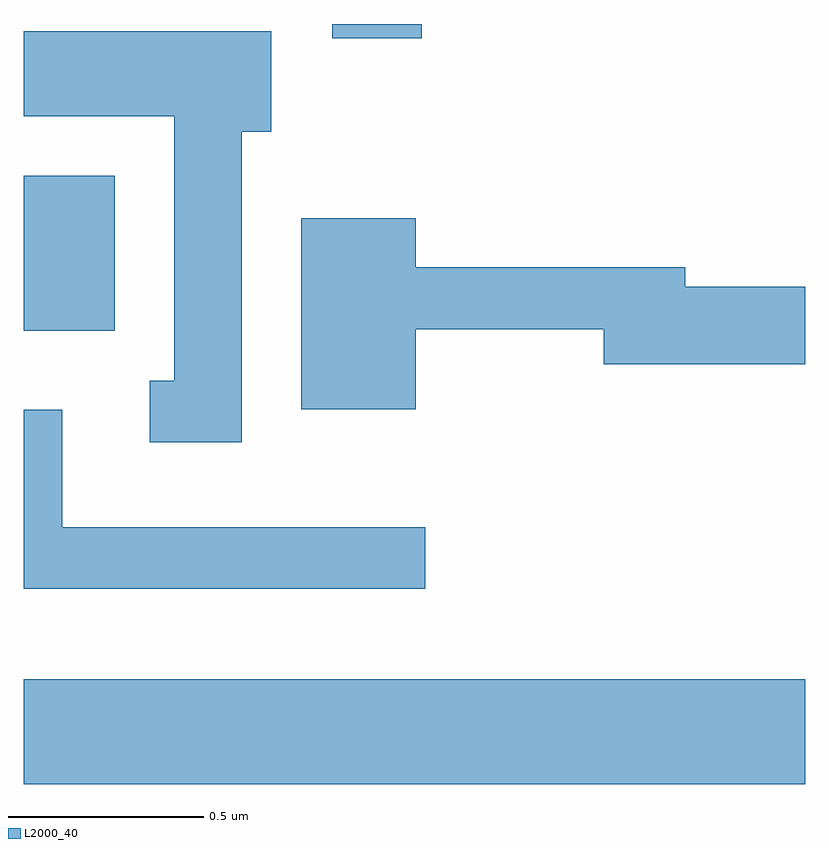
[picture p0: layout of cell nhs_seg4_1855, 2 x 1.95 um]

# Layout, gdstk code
import gdstk
lib = gdstk.Library(unit=1e-6, precision=1e-09)
def R(c, l, rs):  # rectangles x0, y0, x1, y1
    for r in rs: c.add(gdstk.rectangle(r[:2], r[2:], *l))
def P(c, l, *ps):  # polygons
    for p in ps: c.add(gdstk.Polygon(p, *l))
L2000_40 = (2000, 40)

nhs_seg4_1855 = lib.new_cell('nhs_seg4_1855')
R(nhs_seg4_1855, L2000_40, [(198.611,1328.036,200.611,1328.304), (198.611,1329.196,198.844,1329.594), (199.401,1329.946,199.629,1329.982)])
P(nhs_seg4_1855, L2000_40, [(199.169,1329.706),(199.244,1329.706),(199.244,1329.964),(198.611,1329.964),(198.611,1329.746),(198.996,1329.746),(198.996,1329.069),(198.933,1329.069),(198.933,1328.911),(199.169,1328.911)],
  [(199.614,1329.201),(200.096,1329.201),(200.096,1329.111),(200.611,1329.111),(200.611,1329.309),(200.304,1329.309),(200.304,1329.359),(199.614,1329.359),(199.614,1329.484),(199.321,1329.484),(199.321,1328.996),(199.614,1328.996)],
  [(199.638,1328.694),(198.709,1328.694),(198.709,1328.994),(198.611,1328.994),(198.611,1328.536),(199.638,1328.536)])

lib.write_gds('nhs_seg4_1855.gds')
